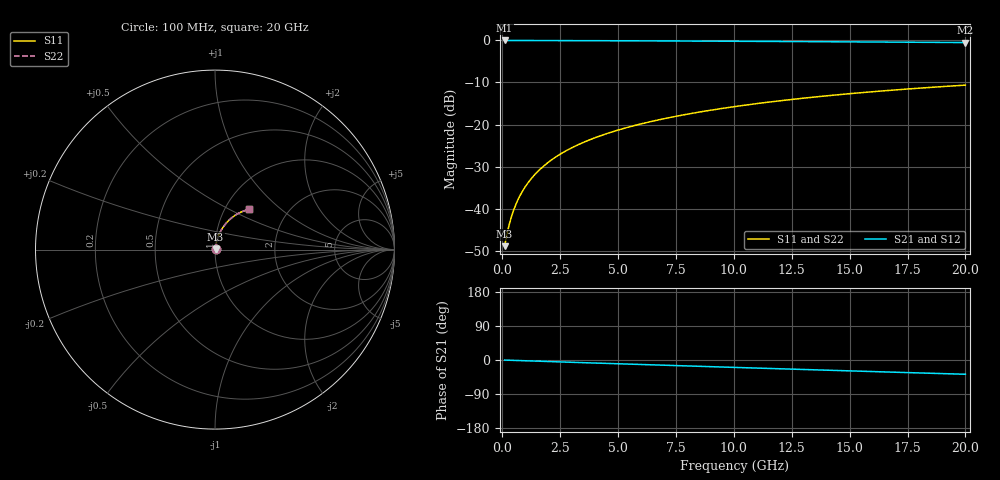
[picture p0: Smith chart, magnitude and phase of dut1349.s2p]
! Touchstone file exported from HFSS 2026.1.0
!  File:  C:/ffzhzh/LocalFiles/Ansys_Project_Files/temp_train_BSMRDL_1349_1783179004_22436.aedt
!  Generated:  11:31:18 PM Jul  4, 2026
!  Design:  BSMRDL
!  Project:  temp_train_BSMRDL_1349_1783179004_22436
! Variables:
!  h_bsmrdl = 5.9um
!  h_ox = 20um
!  h_rdl = 5um
!  h_sub = 80um
!  h_tmrdl = 5um
!  h_tsv = 80um
!  h_via = 3um
!  l_bsmrdl = 607.71um
!  l_sub = 1007.71um
!  l_tmrdl = 200um
!  m_sub = 200um
!  pitch = 27.94um
!  r_tsv = 6um
!  s_tmrdl = 10um
!  w_bsmrdl = 12.32um
!  w_sub = 500um
!  w_tmrdl = 12um
!  x_tsv_center1 = 206um
!  x_tsv_center2 = 826.03um
!  x_tsv_center3 = 1038.03um
!  x_tsv_center4 = 1658.06um
!  x_tsv_center5 = 1870.06um
!  x_tsv_center6 = 2490.09um
# GHz S MA R 50.000000
! Terminal data exported
! Port[1] = BSM_RDL1_1_T1
! Port[2] = BSM_RDL1_1_T2
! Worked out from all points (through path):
!   200 points, 100 MHz to 20 GHz, reference 50 ohm
!   highest |S21| = -0.03 dB at 100 MHz (marker M1); lowest = -0.5 dB at 20 GHz (marker M2)
!   group delay of S21, straight-line fit = 5.22 ps
!   lowest |S11| = -48.8 dB at 100 MHz (marker M3), VSWR 1.01, Z = 50.3 + j0.196 ohm
!   |S11| at or under -10 dB: start of sweep to end of sweep
!   |S22| runs from -48.8 to -10.6 dB; largest |S21 - S12| = 2.4e-15
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0.1  0.003613 32.7  0.997 -0.2  0.997 -0.2  0.003613 32.7
! Gamma 0 0 0 0
! Port Impedance 50 0 50 0
0.2  0.004974 50.2  0.9968 -0.4  0.9968 -0.4  0.004974 50.2
0.3  0.006539 59.4  0.9967 -0.6  0.9967 -0.6  0.006539 59.4
0.4  0.008172 64.9  0.9966 -0.8  0.9966 -0.8  0.008172 64.9
0.5  0.009842 68.5  0.9965 -1.0  0.9965 -1.0  0.009842 68.5
0.6  0.01154 71.1  0.9964 -1.2  0.9964 -1.2  0.01154 71.1
0.8  0.01498 74.4  0.9963 -1.6  0.9963 -1.6  0.01498 74.4
1.1  0.02021 77.0  0.996 -2.2  0.996 -2.2  0.02021 77.0
1.3  0.02371 77.9  0.9958 -2.7  0.9958 -2.7  0.02371 77.9
1.6  0.02897 78.6  0.9955 -3.3  0.9955 -3.3  0.02897 78.6
2.1  0.03767 78.8  0.9948 -4.3  0.9948 -4.3  0.03767 78.8
2.7  0.048 78.5  0.9938 -5.5  0.9938 -5.5  0.048 78.5
3.5  0.06152 77.5  0.9922 -7.0  0.9922 -7.0  0.06152 77.5
4.2  0.07313 76.4  0.9908 -8.4  0.9908 -8.4  0.07313 76.4
5  0.08616 75.2  0.989 -10.0  0.989 -10.0  0.08616 75.2
5.9  0.1006 73.7  0.9869 -11.7  0.9869 -11.7  0.1006 73.7
6.8  0.1147 72.2  0.9846 -13.4  0.9846 -13.4  0.1147 72.2
8.3  0.1378 69.6  0.9807 -16.3  0.9807 -16.3  0.1378 69.6
10.1  0.1646 66.5  0.9756 -19.7  0.9756 -19.7  0.1646 66.6
13.4  0.2114 60.9  0.9652 -25.8  0.9652 -25.8  0.2114 60.9
16.7  0.2547 55.2  0.9537 -31.8  0.9537 -31.8  0.2547 55.3
20  0.2942 49.6  0.9416 -37.7  0.9416 -37.7  0.2941 49.7
